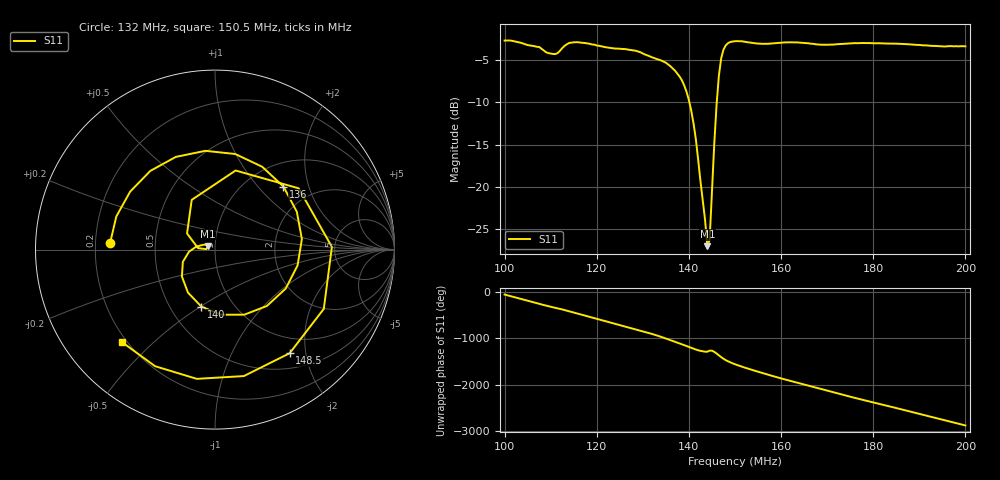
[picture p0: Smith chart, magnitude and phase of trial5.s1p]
#  HZ  S  RI  R  50.00
! Rohde & Schwarz ZVA40 2Ports - Version 3.12 - 1145.1110k40 SN: 100360
! Date: 2019-07-29 16:27:45
! Measurement: S11
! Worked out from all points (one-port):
!   201 points, 100 MHz to 200 MHz, reference 50 ohm
!   lowest |S11| = -27.1 dB at 144 MHz (marker M1), VSWR 1.09, Z = 46.1 + j1.8 ohm
!   |S11| at or under -10 dB: 140.1 MHz to 146 MHz (5.933 MHz wide, 4.15 % of centre)
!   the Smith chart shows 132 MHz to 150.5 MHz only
!   S11 on the Smith chart (normalised r, x): 132 MHz: 0.26, +0.03; 136 MHz: 1.44, +1.39; 140 MHz: 0.71, -0.50; 148.5 MHz: 0.73, -1.71; 150.5 MHz: 0.18, -0.40
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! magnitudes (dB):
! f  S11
! 100 MHz  -2.7
! 107.5 MHz  -3.4
! 110.5 MHz  -4.2
! 112.5 MHz  -3.6
! 115.5 MHz  -2.8
! 125 MHz  -3.6
! 132 MHz  -4.6
! 136 MHz  -5.7
! 137.5 MHz  -6.6
! 139 MHz  -8.0
! 140 MHz  -9.7
! 141 MHz  -12.5
! 141.5 MHz  -14.3
! 143.5 MHz  -23.9
! 144 MHz  -27.1
! 144.5 MHz  -26.3
! 145.5 MHz  -14.9
! 146 MHz  -10.3
! 146.5 MHz  -6.8
! 147 MHz  -4.8
! 147.5 MHz  -3.7
! 148.5 MHz  -3.0
! 150 MHz  -2.7
! 150.5 MHz  -2.7
! 162.5 MHz  -2.9
! 175 MHz  -3.0
! 187.5 MHz  -3.1
! 200 MHz  -3.3
